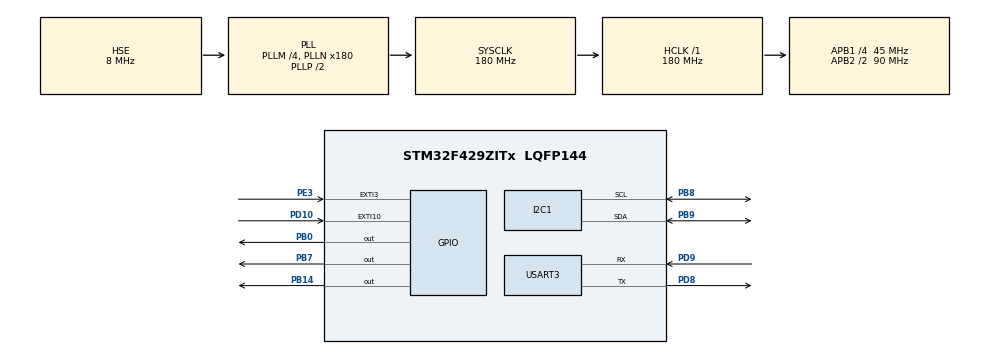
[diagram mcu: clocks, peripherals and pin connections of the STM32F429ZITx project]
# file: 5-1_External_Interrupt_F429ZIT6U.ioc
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Mcu.Family=STM32F4
Mcu.Name=STM32F429ZITx
Mcu.Package=LQFP144
NVIC.EXTI15_10_IRQn=true\:0\:0\:false\:false\:true\:true\:true
NVIC.EXTI3_IRQn=true\:0\:0\:false\:false\:true\:true\:true
NVIC.PriorityGroup=NVIC_PRIORITYGROUP_4
NVIC.TIM7_IRQn=true\:0\:0\:false\:false\:true\:true\:true
NVIC.USART3_IRQn=true\:0\:0\:false\:false\:true\:true\:true
PB0.Signal=GPIO_Output
PB14.Signal=GPIO_Output
PB7.Signal=GPIO_Output
PB8.Mode=I2C
PB8.Signal=I2C1_SCL
PB9.Mode=I2C
PB9.Signal=I2C1_SDA
PD10.GPIO_PuPd=GPIO_PULLDOWN
PD10.Signal=GPXTI10
PD8.Mode=Asynchronous
PD8.Signal=USART3_TX
PD9.Mode=Asynchronous
PD9.Signal=USART3_RX
PE3.GPIO_ModeDefaultEXTI=GPIO_MODE_IT_FALLING
PE3.GPIO_PuPd=GPIO_PULLUP
PE3.Signal=GPXTI3
PH0/OSC_IN.Mode=HSE-External-Oscillator
PH0/OSC_IN.Signal=RCC_OSC_IN
PH1/OSC_OUT.Mode=HSE-External-Oscillator
PH1/OSC_OUT.Signal=RCC_OSC_OUT
ProjectManager.HeapSize=0x200
ProjectManager.StackSize=0x400
ProjectManager.TargetToolchain=STM32CubeIDE
RCC.48MHZClocksFreq_Value=90000000
RCC.AHBFreq_Value=180000000
RCC.APB1CLKDivider=RCC_HCLK_DIV4
RCC.APB1Freq_Value=45000000
RCC.APB1TimFreq_Value=90000000
RCC.APB2CLKDivider=RCC_HCLK_DIV2
RCC.APB2Freq_Value=90000000
RCC.APB2TimFreq_Value=180000000
RCC.CortexFreq_Value=180000000
RCC.HCLKFreq_Value=180000000
RCC.HSE_VALUE=8000000
RCC.HSI_VALUE=16000000
RCC.LSE_VALUE=32768
RCC.PLLM=4
RCC.PLLN=180
RCC.PLLSourceVirtual=RCC_PLLSOURCE_HSE
RCC.SYSCLKFreq_VALUE=180000000
RCC.SYSCLKSource=RCC_SYSCLKSOURCE_PLLCLK
RCC.VCOOutputFreq_Value=360000000
TIM7.AutoReloadPreload=TIM_AUTORELOAD_PRELOAD_ENABLE
TIM7.Period=9999
TIM7.Prescaler=8999
USART3.VirtualMode=VM_ASYNC
VP_TIM7_VS_ClockSourceINT.Mode=Enable_Timer
board=custom

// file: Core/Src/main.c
/* USER CODE BEGIN Header */
/**
  ******************************************************************************
  * @file           : main.c
  * @brief          : Main program body
  ******************************************************************************
  * @attention
  *
  * Copyright (c) 2022 STMicroelectronics.
  * All rights reserved.
  *
  * This software is licensed under terms that can be found in the LICENSE file
  * in the root directory of this software component.
  * If no LICENSE file comes with this software, it is provided AS-IS.
  *
  ******************************************************************************
  */
/* USER CODE END Header */
#include "main.h"
#include "i2c.h"
#include "tim.h"
#include "usart.h"
#include "gpio.h"

/* USER CODE BEGIN Includes */
#include <stdio.h>
/* USER CODE END Includes */

/* USER CODE BEGIN PV */
uint8_t RX_DATA;
//unsigned char flag = 0;
uint16_t a = 0;
/* USER CODE END PV */

void SystemClock_Config(void);
/* USER CODE BEGIN PFP */

int _write(int file ,char* p, int len)
{
	if(HAL_UART_Transmit(&huart3, (uint8_t*)p, len, 10) == HAL_OK) return len;
	else return 0;
}
/* USER CODE END PFP */

int main(void)
{

  /* MCU Configuration--------------------------------------------------------*/

  /* Reset of all peripherals, Initializes the Flash interface and the Systick. */
  HAL_Init();

  /* Configure the system clock */
  SystemClock_Config();

  /* Initialize all configured peripherals */
  MX_GPIO_Init();
  MX_USART3_UART_Init();
  MX_I2C1_Init();
  MX_TIM7_Init();
  /* USER CODE BEGIN 2 */
  HAL_TIM_Base_Start_IT(&htim7);
  /* USER CODE END 2 */

  /* Infinite loop */
  while (1)
  {

  }
}

void SystemClock_Config(void)
{
  RCC_OscInitTypeDef RCC_OscInitStruct = {0};
  RCC_ClkInitTypeDef RCC_ClkInitStruct = {0};

  /** Configure the main internal regulator output voltage
  */
  __HAL_RCC_PWR_CLK_ENABLE();
  __HAL_PWR_VOLTAGESCALING_CONFIG(PWR_REGULATOR_VOLTAGE_SCALE1);
  /** Initializes the RCC Oscillators according to the specified parameters
  * in the RCC_OscInitTypeDef structure.
  */
  RCC_OscInitStruct.OscillatorType = RCC_OSCILLATORTYPE_HSE;
  RCC_OscInitStruct.HSEState = RCC_HSE_ON;
  RCC_OscInitStruct.PLL.PLLState = RCC_PLL_ON;
  RCC_OscInitStruct.PLL.PLLSource = RCC_PLLSOURCE_HSE;
  RCC_OscInitStruct.PLL.PLLM = 4;
  RCC_OscInitStruct.PLL.PLLN = 180;
  RCC_OscInitStruct.PLL.PLLP = RCC_PLLP_DIV2;
  RCC_OscInitStruct.PLL.PLLQ = 4;
  if (HAL_RCC_OscConfig(&RCC_OscInitStruct) != HAL_OK)
  {
    Error_Handler();
  }
  /** Activate the Over-Drive mode
  */
  if (HAL_PWREx_EnableOverDrive() != HAL_OK)
  {
    Error_Handler();
  }
  /** Initializes the CPU, AHB and APB buses clocks
  */
  RCC_ClkInitStruct.ClockType = RCC_CLOCKTYPE_HCLK|RCC_CLOCKTYPE_SYSCLK
                              |RCC_CLOCKTYPE_PCLK1|RCC_CLOCKTYPE_PCLK2;
  RCC_ClkInitStruct.SYSCLKSource = RCC_SYSCLKSOURCE_PLLCLK;
  RCC_ClkInitStruct.AHBCLKDivider = RCC_SYSCLK_DIV1;
  RCC_ClkInitStruct.APB1CLKDivider = RCC_HCLK_DIV4;
  RCC_ClkInitStruct.APB2CLKDivider = RCC_HCLK_DIV2;

  if (HAL_RCC_ClockConfig(&RCC_ClkInitStruct, FLASH_LATENCY_5) != HAL_OK)
  {
    Error_Handler();
  }
}

/* USER CODE BEGIN 4 */
void HAL_UART_RxCpltCallback(UART_HandleTypeDef *huart)
{
	if(huart->Instance == USART3)
	{
		HAL_UART_Receive_IT(&huart3, &RX_DATA, 1);
		HAL_UART_Transmit(&huart3, &RX_DATA, 1, 10);
	}
}

void HAL_TIM_PeriodElapsedCallback(TIM_HandleTypeDef *htim)
{
	if(htim->Instance == TIM7)
	{
		HAL_GPIO_TogglePin(GPIOB, GPIO_PIN_0);
		printf("%d\r\n", a);
	    a++;
	}
}

void HAL_GPIO_EXTI_Callback(uint16_t GPIO_Pin)
{

	static uint32_t temp;
	if(GPIO_Pin == GPIO_PIN_3)	// PIN_3 Pressed
	{
		if(HAL_GetTick() - temp > 100){
			printf("%s\r\n", "PIN_3 Pressed");
			HAL_GPIO_TogglePin(GPIOB, GPIO_PIN_7);
		}

		//while(HAL_GPIO_ReadPin(GPIOE, GPIO_PIN_3) == GPIO_PIN_RESET);
		while(HAL_GPIO_ReadPin(GPIOE, GPIO_PIN_3) == GPIO_PIN_RESET){
			//printf("%s\r\n", "wait for reset");
		}	// button -> 0
		temp = HAL_GetTick();	// check last time
	}

	if(GPIO_Pin == GPIO_PIN_10)
	{
		printf("%s\r\n", "PIN_10 Pressed");
		//HAL_GPIO_TogglePin(GPIOB, GPIO_PIN_14);
	}
}
/* USER CODE END 4 */

void Error_Handler(void)
{
  __disable_irq();
  while (1)
  {
  }
}
